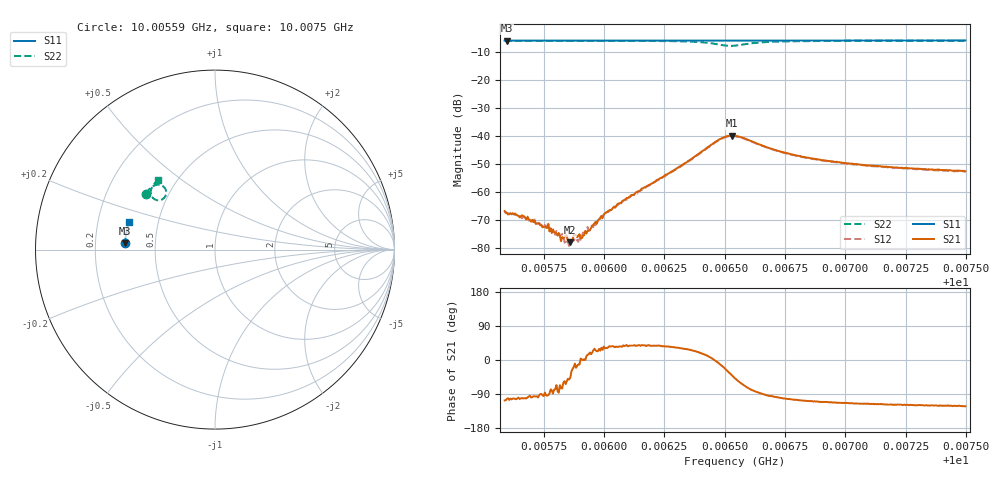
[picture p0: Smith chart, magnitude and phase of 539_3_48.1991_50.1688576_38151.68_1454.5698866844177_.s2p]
#  HZ  S  RI  R  50.00
! Rohde & Schwarz Vector Network Analyzer
! Rohde-Schwarz,ZNB20-2Port,1311601062101988,3.16
! Created: UTC 3/20/2024, 12:00:13 PM
! freq[Hz]  re:S11  im:S11  re:S21  im:S21  re:S12  im:S12  re:S22  im:S22
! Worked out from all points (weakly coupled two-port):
!   401 points, 10.00559 GHz to 10.0075 GHz, reference 50 ohm
!   highest |S21| = -39.96 dB at 10.00653 GHz (marker M1); lowest = -78.2 dB at 10.00586 GHz (marker M2)
!   lowest |S11| = -6.0 dB at 10.0056 GHz (marker M3), VSWR 3.01, Z = 16.6 + j1.58 ohm
!   |S11| at or under -10 dB: nowhere
!   |S22| runs from -7.9 to -6.0 dB; largest |S21 - S12| = 0.00062
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1.0005589e10  -0.5001 0.0349  -0.000129 -0.00043  -5.98e-05 -0.000404  -0.387 0.3114
1.0005598e10  -0.5 0.0356  -8.93e-05 -0.000402  -7.1e-05 -0.000408  -0.3865 0.3121
1.0005665e10  -0.4998 0.0397  -7.2e-05 -0.000359  -5.03e-05 -0.00035  -0.3834 0.3161
1.0005722e10  -0.4997 0.0437  -2.71e-05 -0.000266  -2.52e-05 -0.000291  -0.3807 0.3196
1.000577e10  -0.4995 0.0469  -1.31e-05 -0.000264  3.4e-05 -0.000201  -0.3785 0.3226
1.0005823e10  -0.4992 0.0502  3.46e-05 -0.000125  5.04e-05 -0.000159  -0.3757 0.3258
1.0005846e10  -0.4991 0.0516  9.21e-05 -0.000135  7.45e-05 -0.000116  -0.3745 0.3272
1.0005861e10  -0.4991 0.0527  8.49e-05 -8.92e-05  0.000114 -6.53e-05  -0.3738 0.3281
1.0005885e10  -0.499 0.0541  0.000157 -5.95e-05  0.00013 -3.4e-05  -0.3723 0.3297
1.0005899e10  -0.499 0.0551  0.000169 -3.62e-05  0.00017 -1.26e-05  -0.3716 0.3305
1.0005908e10  -0.4988 0.0557  0.000147 4.61e-06  0.000155 2.69e-05  -0.3711 0.3312
1.0005923e10  -0.4988 0.0567  0.000198 -6.87e-07  0.000184 4.86e-05  -0.3702 0.332
1.0006013e10  -0.4983 0.0625  0.00037 0.000228  0.000344 0.000263  -0.3644 0.3382
1.000609e10  -0.4977 0.0675  0.000571 0.000449  0.000554 0.000469  -0.3586 0.3434
1.0006228e10  -0.4968 0.0764  0.00131 0.00104  0.00123 0.00103  -0.3446 0.3538
1.0006471e10  -0.4937 0.092  0.00819 -0.000904  0.00801 -0.000448  -0.274 0.3321
1.0006529e10  -0.493 0.095  0.00773 -0.00642  0.00787 -0.00588  -0.2878 0.2839
1.0006543e10  -0.4931 0.0958  0.00659 -0.00742  0.00687 -0.0069  -0.2998 0.2771
1.0006724e10  -0.4919 0.1075  -0.000851 -0.00526  -0.000576 -0.00518  -0.3582 0.3229
1.0006863e10  -0.4901 0.1163  -0.00126 -0.00369  -0.00103 -0.00368  -0.3522 0.3448
1.0007182e10  -0.4856 0.1365  -0.00127 -0.00243  -0.00114 -0.00245  -0.3345 0.3706
1.0007497e10  -0.4804 0.1561  -0.00123 -0.00195  -0.00109 -0.00197  -0.3177 0.3882
